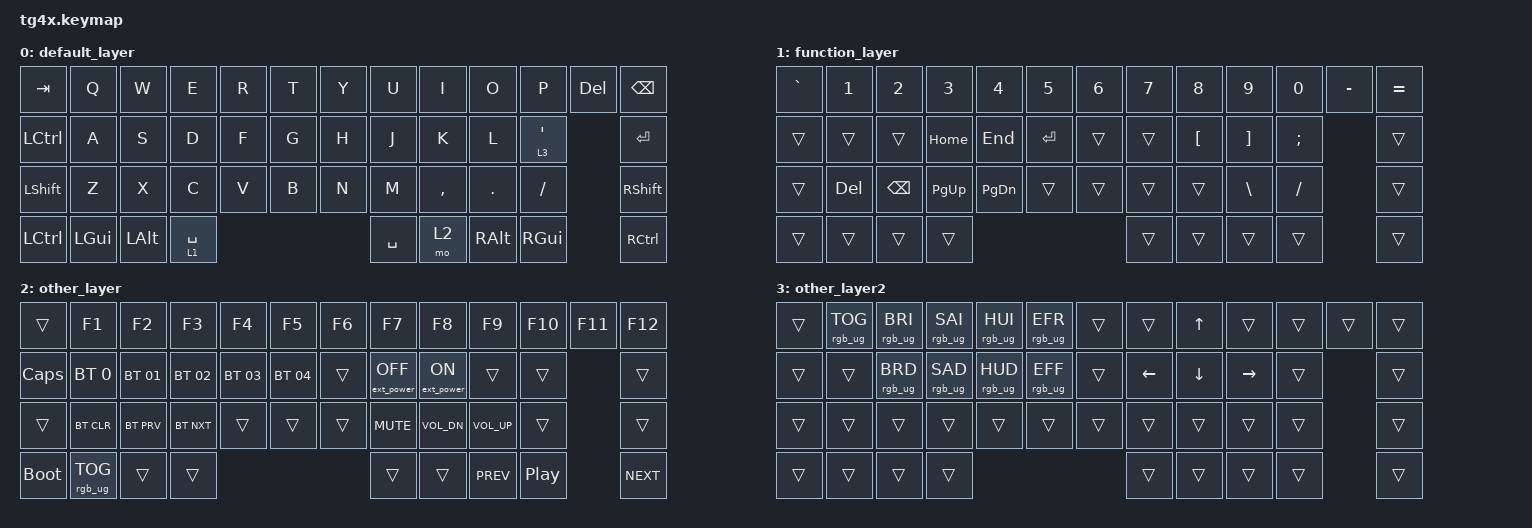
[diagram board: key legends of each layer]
/*
 * Copyright (c) 2020 The ZMK Contributors
 * 
 * SPDX-License-Identifier: MIT
 */

#include <behaviors.dtsi>
#include <dt-bindings/zmk/keys.h>
#include <dt-bindings/zmk/bt.h>
#include <dt-bindings/zmk/matrix_transform.h>
#include <dt-bindings/zmk/rgb.h>
#include <dt-bindings/zmk/ext_power.h>

	&default_transform {
		compatible = "zmk,matrix-transform";
		rows = <8>;
		columns = <7>;

		map = <
RC(0,0) RC(0,1) RC(0,2) RC(0,3) RC(0,4) RC(0,5) RC(0,6) RC(4,0) RC(4,1) RC(4,2) RC(4,3) RC(4,4) RC(4,5)
RC(1,0) RC(1,1) RC(1,2) RC(1,3) RC(1,4) RC(1,5) RC(1,6) RC(5,0) RC(5,1) RC(5,2) RC(5,3)         RC(5,4)
RC(2,0)         RC(2,1) RC(2,2) RC(2,3) RC(2,4) RC(2,5) RC(2,6) RC(6,0) RC(6,1) RC(6,2) RC(6,3) RC(6,4)
RC(3,0) RC(3,1) RC(3,2) RC(3,4)                                 RC(3,5) RC(7,1) RC(7,2) RC(7,3) RC(7,4)
		>;
	};

/ {   

	combos {
	        compatible = "zmk,combos";
	        combo_esc {
	            timeout-ms = <50>;
	            key-positions = <0 1>;
	            bindings = <&kp ESC>;
	        };
	};

	keymap {
		compatible = "zmk,keymap";

		default_layer {
			bindings = <
&kp TAB      &kp Q    		   &kp W            &kp E            &kp R            &kp T 			&kp Y 	 &kp U     			&kp I     		   &kp O    	  &kp P       &kp DEL    &kp BSPC
&kp LCTRL    &kp A    		   &kp S            &kp D            &kp F            &kp G 			&kp H 	 &kp J     			&kp K     		   &kp L    	  &lt 3 APOS             &kp RET
&kp LSHFT    &kp Z    		   &kp X            &kp C            &kp V            &kp B 			&kp N 	 &kp M     			&kp COMMA 		   &kp DOT  	  &kp SLASH              &kp RSHFT
&kp LCTRL    &kp LGUI 		   &kp LALT         &lt 1 SPACE                             			      	 &kp SPACE 			&mo 2     		   &kp RALT 	  &kp RGUI               &kp RCTRL
			>;
		};

		function_layer {
			bindings = <
&kp GRAVE    &kp N1   		   &kp N2           &kp N3           &kp N4           &kp N5            &kp N6   &kp N7             &kp N8             &kp N9         &kp N0      &kp MINUS  &kp EQUAL
&trans       &trans   		   &trans           &kp HOME         &kp END          &kp RET           &trans   &trans             &kp LBKT           &kp RBKT       &kp SEMI               &trans
&trans       &kp DEL  		   &kp BSPC         &kp PG_UP        &kp PG_DN        &trans            &trans   &trans             &trans             &kp BSLH       &kp FSLH 	             &trans
&trans       &trans   		   &trans           &trans                                                       &trans             &trans             &trans         &trans                 &trans
			>;
		};

		other_layer {
			bindings = <
&trans       &kp F1            &kp F2           &kp F3           &kp F4           &kp F5            &kp F6   &kp F7       	    &kp F8         	   &kp F9         &kp F10     &kp F11    &kp F12
&kp CAPS     &bt BT_SEL 0      &bt BT_SEL 01    &bt BT_SEL 02    &bt BT_SEL 03    &bt BT_SEL 04     &trans   &ext_power EP_OFF  &ext_power EP_ON   &trans         &trans                 &trans
&trans       &bt BT_CLR        &bt BT_PRV       &bt BT_NXT       &trans           &trans            &trans   &kp C_MUTE  	    &kp C_VOL_DN   	   &kp C_VOL_UP   &trans                 &trans
&bootloader  &rgb_ug RGB_TOG   &trans           &trans                                              &trans   &trans      	    &kp C_PREV    	   &kp C_PP                              &kp C_NEXT
			>;
		};

		other_layer2 {
			bindings = <
&trans       &rgb_ug RGB_TOG   &rgb_ug RGB_BRI  &rgb_ug RGB_SAI  &rgb_ug RGB_HUI  &rgb_ug RGB_EFR   &trans   &trans             &kp UP             &trans         &trans      &trans     &trans
&trans       &trans            &rgb_ug RGB_BRD  &rgb_ug RGB_SAD  &rgb_ug RGB_HUD  &rgb_ug RGB_EFF   &trans   &kp LEFT           &kp DOWN           &kp RIGHT      &trans                 &trans
&trans       &trans            &trans           &trans           &trans           &trans            &trans   &trans             &trans             &trans         &trans                 &trans
&trans       &trans            &trans           &trans                                              &trans   &trans             &trans             &trans                                &trans
			>;
		};

	};
};
